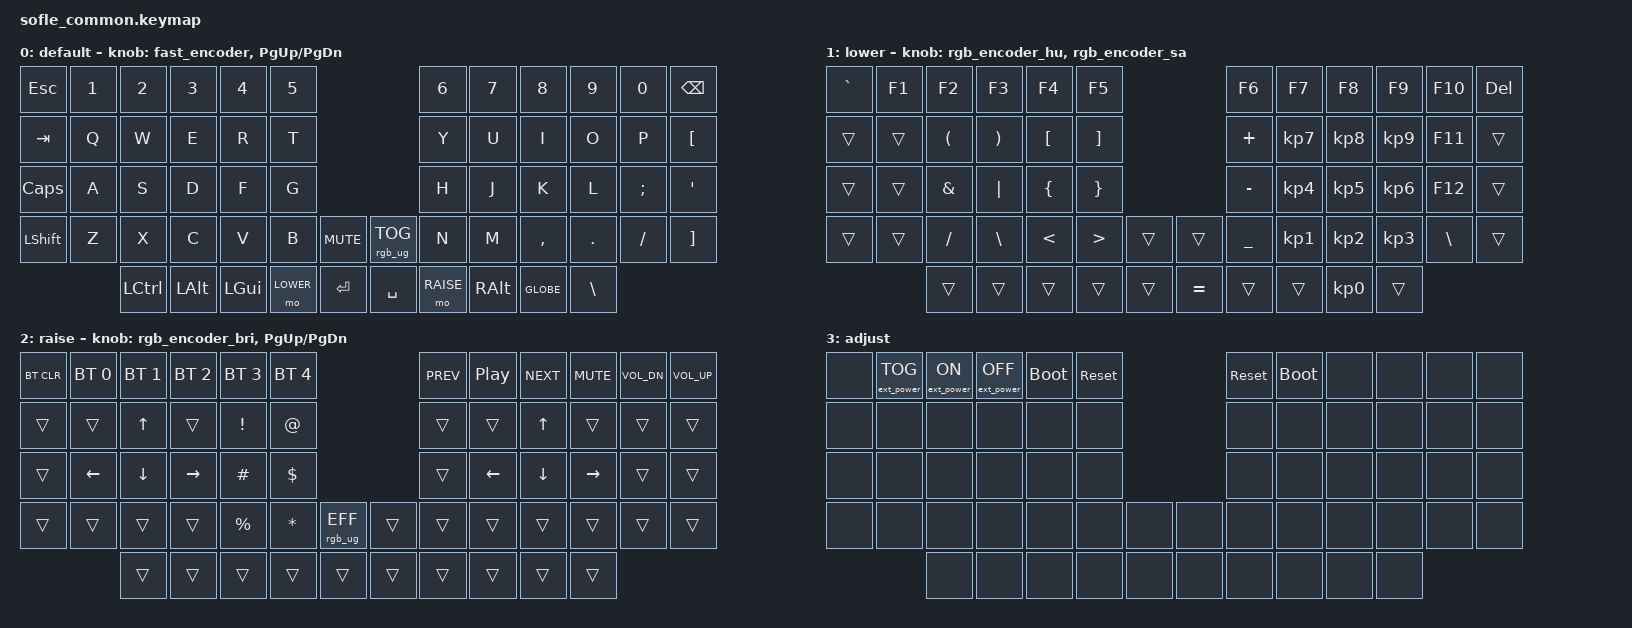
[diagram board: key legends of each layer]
#include <behaviors.dtsi>
#include <dt-bindings/zmk/keys.h>
#include <dt-bindings/zmk/bt.h>
#include <dt-bindings/zmk/rgb.h>
#include <dt-bindings/zmk/ext_power.h>

#define BASE 0
#define LOWER 1
#define RAISE 2
#define ADJUST 3

&nice_view_spi {
    cs-gpios = <&pro_micro 0 GPIO_ACTIVE_HIGH>;  // use D0 (008) for CS niceview + rgb
};

/ {
    behaviors {
        /*
        fast_encoder: fast_encoder {
            compatible = "zmk,behavior-sensor-rotate";
            #sensor-binding-cells = <0>;
            bindings = <&macro_fast_vol_dn>, <&macro_fast_vol_up>;
        };
        */

        fast_encoder: fast_encoder {
            compatible = "zmk,behavior-sensor-rotate";
            #sensor-binding-cells = <0>;
            bindings = <&macro_one_vol_dn>, <&macro_one_vol_up>;
        };

        rgb_encoder_bri: rgb_encoder_bri {
            compatible = "zmk,behavior-sensor-rotate";
            #sensor-binding-cells = <0>;
            bindings = <&rgb_ug RGB_BRD>, <&rgb_ug RGB_BRI>;
        };

        rgb_encoder_hu: rgb_encoder_hu {
            compatible = "zmk,behavior-sensor-rotate";
            #sensor-binding-cells = <0>;
            bindings = <&rgb_ug RGB_HUD>, <&rgb_ug RGB_HUI>;
        };

        rgb_encoder_sa: rgb_encoder_sa {
            compatible = "zmk,behavior-sensor-rotate";
            #sensor-binding-cells = <0>;
            bindings = <&rgb_ug RGB_SAD>, <&rgb_ug RGB_SAI>;
        };
    };


    macros {      
            /*  
            macro_fast_vol_up: macro_fast_vol_up {
                compatible = "zmk,behavior-macro";
                #binding-cells = <0>;
                wait-ms = <0>;
                tap-ms = <0>;
                bindings = <&kp C_VOL_UP &kp C_VOL_UP>;
            };

            macro_fast_vol_dn: macro_fast_vol_dn {
                compatible = "zmk,behavior-macro";
                #binding-cells = <0>;
                wait-ms = <0>;
                tap-ms = <0>;
                bindings = <&kp C_VOL_DN &kp C_VOL_DN>;
            };*/

            macro_one_vol_up: macro_one_vol_up {
                compatible = "zmk,behavior-macro";
                #binding-cells = <0>;
                wait-ms = <0>;
                tap-ms = <0>;
                bindings = <&kp C_VOL_UP>;
            };

            macro_one_vol_dn: macro_one_vol_dn {
                compatible = "zmk,behavior-macro";
                #binding-cells = <0>;
                wait-ms = <0>;
                tap-ms = <0>;
                bindings = <&kp C_VOL_DN>;
            };

            NTIL: NTIL {
                compatible = "zmk,behavior-macro";
                #binding-cells = <0>;
                bindings
                    = <&macro_press &kp LALT>
                    , <&macro_tap &kp KP_N1 &kp KP_N6 &kp KP_N4>
                    , <&macro_release &kp LALT>
                    ;
            };
    };
    


   //Activate ADJUST layer by pressing raise and lower
    conditional_layers {
        compatible = "zmk,conditional-layers";
        adjust_layer {
            if-layers = <LOWER RAISE>;
            then-layer = <ADJUST>;
        };
    };

    keymap {
        compatible = "zmk,keymap";

        default_layer {
            display-name = "default";
// ╭─────────────┬─────────────┬─────────────┬─────────────┬─────────────┬─────────────╮                               ╭─────────────┬─────────────┬─────────────┬─────────────┬─────────────┬─────────────╮
// |     ESC     |      1      |      2      |      3      |      4      |      5      |                               |      6      |      7      |      8      |      9      |      0      |     BSPC    |
// ├─────────────┼─────────────┼─────────────┼─────────────┼─────────────┼─────────────┤                               ├─────────────┼─────────────┼─────────────┼─────────────┼─────────────┼─────────────┤
// |     TAB     |      Q      |      W      |      E      |      R      |      T      |                               |      Y      |      U      |      I      |      O      |      P      |      [      |
// ├─────────────┼─────────────┼─────────────┼─────────────┼─────────────┼─────────────┤                               ├─────────────┼─────────────┼─────────────┼─────────────┼─────────────┼─────────────┤
// |     CAPS    |      A      |      S      |      D      |      F      |      G      |                               |      H      |      J      |      K      |      L      |      ;      |      '      |
// ├─────────────┼─────────────┼─────────────┼─────────────┼─────────────┼─────────────┬─────────────╮    ╭────────────┼─────────────┼─────────────┼─────────────┼─────────────┼─────────────┼─────────────┤
// |     LSHIFT  |      Z      |      X      |      C      |      V      |      B      |     MUTE    |    |     RGB    |      N      |      M      |      ,      |      .      |      /      |      ]      |
// ╰─────────────┴─────────────┴─────────────┼─────────────┼─────────────┼─────────────├─────────────┤    ├────────────┼─────────────┼─────────────┼─────────────┼─────────────┼─────────────┴─────────────╯
//                             |     LCTRL   |     LALT    |     LGUI    |     LOWER   |    ENTER    |    |   SPACE    |    RAISE    |     GLOBE   |     RALT    |      \      |
//                             ╰─────────────┴─────────────┴─────────────┴─────────────┴─────────────╯    ╰────────────┴─────────────┴─────────────┴─────────────┴─────────────╯
                        bindings = <
            &kp ESC   &kp N1 &kp N2   &kp N3   &kp N4    &kp N5                                  &kp N6     &kp N7    &kp N8    &kp N9   &kp N0   &kp BSPC
            &kp TAB   &kp Q  &kp W    &kp E    &kp R     &kp T                                   &kp Y      &kp U     &kp I     &kp O    &kp P    &kp LBKT
            &kp CLCK  &kp A  &kp S    &kp D    &kp F     &kp G                                   &kp H      &kp J     &kp K     &kp L    &kp SEMI &kp SQT
            &kp LSHFT &kp Z  &kp X    &kp C    &kp V     &kp B      &kp C_MUTE &rgb_ug RGB_TOG   &kp N      &kp M     &kp COMMA &kp DOT  &kp FSLH &kp RBKT
                          &kp LCTRL &kp LALT &kp LGUI  &mo LOWER  &kp RET    &kp SPACE         &mo RAISE  &kp RALT   &kp GLOBE    &kp BSLH
                        >; 

                        sensor-bindings = <&fast_encoder &inc_dec_kp PG_UP PG_DN>;
                    };

        lower_layer {
            display-name = "lower";

// ╭─────────────┬─────────────┬─────────────┬─────────────┬─────────────┬─────────────╮                               ╭─────────────┬─────────────┬─────────────┬─────────────┬─────────────┬─────────────╮
// |    ` ~      |      F1     |      F2     |     F3      |      F4     |      F5     |                               |      F6     |      F7     |      F8     |      F9     |      F10    |     DEL     |
// ├─────────────┼─────────────┼─────────────┼─────────────┼─────────────┼─────────────┤                               ├─────────────┼─────────────┼─────────────┼─────────────┼─────────────┼─────────────┤
// |             |             |      (      |      )      |      [      |      ]      |                               |      +      |      7      |      8      |      9      |      F11    |             |
// ├─────────────┼─────────────┼─────────────┼─────────────┼─────────────┼─────────────┤                               ├─────────────┼─────────────┼─────────────┼─────────────┼─────────────┼─────────────┤
// |             |             |      &      |      |      |      {      |      }      |                               |      -      |      4      |      5      |      6      |      F12    |             |
// ├─────────────┼─────────────┼─────────────┼─────────────┼─────────────┼─────────────┬─────────────╮    ╭────────────┼─────────────┼─────────────┼─────────────┼─────────────┼─────────────┼─────────────┤
// |             |             |      /      |      \      |      <      |      >      |             |    |            |      _      |      1      |      2      |      3      |      \      |             |
// ╰─────────────┴─────────────┴─────────────┼─────────────┼─────────────┼─────────────├─────────────┤    ├────────────┼─────────────┼─────────────┼─────────────┼─────────────┼─────────────┴─────────────╯
//                             |             |             |             |             |             |    |     =      |             |             |      0      |             |
//                             ╰─────────────┴─────────────┴─────────────┴─────────────┴─────────────╯    ╰────────────┴─────────────┴─────────────┴─────────────┴─────────────╯
                        bindings = <
            &kp GRAVE &kp F1    &kp F2    &kp F3    &kp F4    &kp F5                     &kp F6    &kp F7       &kp F8       &kp F9       &kp F10    &kp DEL
            &trans    &trans    &kp LPAR  &kp RPAR  &kp LBKT  &kp RBKT                   &kp PLUS  &kp KP_N7    &kp KP_N8    &kp KP_N9    &kp F11    &trans 
            &trans    &trans    &kp AMPS  &kp PIPE  &kp LBRC  &kp RBRC                   &kp MINUS &kp KP_N4    &kp KP_N5    &kp KP_N6    &kp F12    &trans
            &trans    &trans    &kp FSLH  &kp BSLH  &kp LT    &kp GT    &trans &trans    &kp UNDER &kp KP_N1    &kp KP_N2    &kp KP_N3    &kp BSLH   &trans
                                &trans    &trans    &trans    &trans    &trans &kp EQUAL &trans    &trans    &kp KP_N0    &trans
                        >;

                        sensor-bindings = <&rgb_encoder_hu &rgb_encoder_sa>;
                    };

        raise_layer {
            display-name = "raise";

// ╭─────────────┬─────────────┬─────────────┬─────────────┬─────────────┬─────────────╮                               ╭─────────────┬─────────────┬─────────────┬─────────────┬─────────────┬─────────────╮
// |    BTCLR    |     BT1     |     BT2     |     BT3     |     BT4     |     BT5     |                               |   PREVIEW   |     PLAY    |     NEXT    |     MUTE    |   VOL DOWN  |   VOL UP    |
// ├─────────────┼─────────────┼─────────────┼─────────────┼─────────────┼─────────────┤                               ├─────────────┼─────────────┼─────────────┼─────────────┼─────────────┼─────────────┤
// |             |             |             |             |      !      |      @      |                               |             |             |      ^      |             |             |             |
// ├─────────────┼─────────────┼─────────────┼─────────────┼─────────────┼─────────────┤                               ├─────────────┼─────────────┼─────────────┼─────────────┼─────────────┼─────────────┤
// |             |             |             |             |      #      |      $      |                               |             |      <-     |      v      |     ->      |             |             |
// ├─────────────┼─────────────┼─────────────┼─────────────┼─────────────┼─────────────┬─────────────╮    ╭────────────┼─────────────┼─────────────┼─────────────┼─────────────┼─────────────┼─────────────┤
// |             |             |             |             |      %      |      *      |   RGB_EFF   |    |            |             |             |             |             |             |             |
// ╰─────────────┴─────────────┴─────────────┼─────────────┼─────────────┼─────────────├─────────────┤    ├────────────┼─────────────┼─────────────┼─────────────┼─────────────┼─────────────┴─────────────╯
//                             |             |             |             |             |             |    |            |             |             |             |             |
//                             ╰─────────────┴─────────────┴─────────────┴─────────────┴─────────────╯    ╰────────────┴─────────────┴─────────────┴─────────────┴─────────────╯
                        bindings = <
            &bt BT_CLR &bt BT_SEL 0 &bt BT_SEL 1 &bt BT_SEL 2 &bt BT_SEL 3 &bt BT_SEL 4                          &kp C_PREV &kp C_PP   &kp C_NEXT  &kp C_MUTE    &kp C_VOL_DN  &kp C_VOL_UP
            &trans     &trans       &kp UP       &trans       &kp EXCL     &kp AT                                &trans     &trans     &kp UP      &trans        &trans        &trans
            &trans     &kp LEFT     &kp DOWN     &kp RIGHT    &kp HASH     &kp DLLR                              &trans     &kp LEFT   &kp DOWN    &kp RIGHT     &trans        &trans
            &trans     &trans       &trans       &trans       &kp PRCNT    &kp ASTRK   &rgb_ug RGB_EFF   &trans  &trans     &trans     &trans      &trans        &trans        &trans
                                    &trans       &trans       &trans       &trans      &trans            &trans  &trans     &trans     &trans      &trans  
                        >;

                        sensor-bindings = <&rgb_encoder_bri &inc_dec_kp PG_UP PG_DN>;
                    };

        adjust_layer {
// ╭─────────────┬─────────────┬─────────────┬─────────────┬─────────────┬─────────────╮                               ╭─────────────┬─────────────┬─────────────┬─────────────┬─────────────┬─────────────╮
// |             |  EP Toggle  |    EP On    |    EP Off   |  Bootloader |    Reset    |                               |    Reset    |  Bootloader |             |             |             |             |
// ├─────────────┼─────────────┼─────────────┼─────────────┼─────────────┼─────────────┤                               ├─────────────┼─────────────┼─────────────┼─────────────┼─────────────┼─────────────┤
// |             |             |             |             |             |             |                               |             |             |             |             |             |             |
// ├─────────────┼─────────────┼─────────────┼─────────────┼─────────────┼─────────────┤                               ├─────────────┼─────────────┼─────────────┼─────────────┼─────────────┼─────────────┤
// |             |             |             |             |             |             |                               |             |             |             |             |             |             |
// ├─────────────┼─────────────┼─────────────┼─────────────┼─────────────┼─────────────┬─────────────╮    ╭────────────┼─────────────┼─────────────┼─────────────┼─────────────┼─────────────┼─────────────┤
// |             |             |             |             |             |             |             |    |            |             |             |             |             |             |             |
// ╰─────────────┴─────────────┴─────────────┼─────────────┼─────────────┼─────────────├─────────────┤    ├────────────┼─────────────┼─────────────┼─────────────┼─────────────┼─────────────┴─────────────╯
//                             |             |             |             |             |             |    |            |             |             |             |             |
//                             ╰─────────────┴─────────────┴─────────────┴─────────────┴─────────────╯    ╰────────────┴─────────────┴─────────────┴─────────────┴─────────────╯

                        display-name = "adjust";
                        bindings = <
            &none  &ext_power EP_TOG  &ext_power EP_ON  &ext_power EP_OFF  &bootloader  &sys_reset              &sys_reset   &bootloader   &none  &none  &none  &none  
            &none  &none  &none  &none  &none        &none                                                      &none        &none  &none  &none  &none  &none  
            &none  &none  &none  &none  &none        &none                                                      &none        &none  &none  &none  &none  &none
            &none  &none  &none  &none  &none        &none      &none                                   &none   &none        &none  &none  &none  &none  &none
                          &none  &none  &none        &none      &none                                   &none   &none        &none  &none  &none 
                        >;
        };
    };
};
